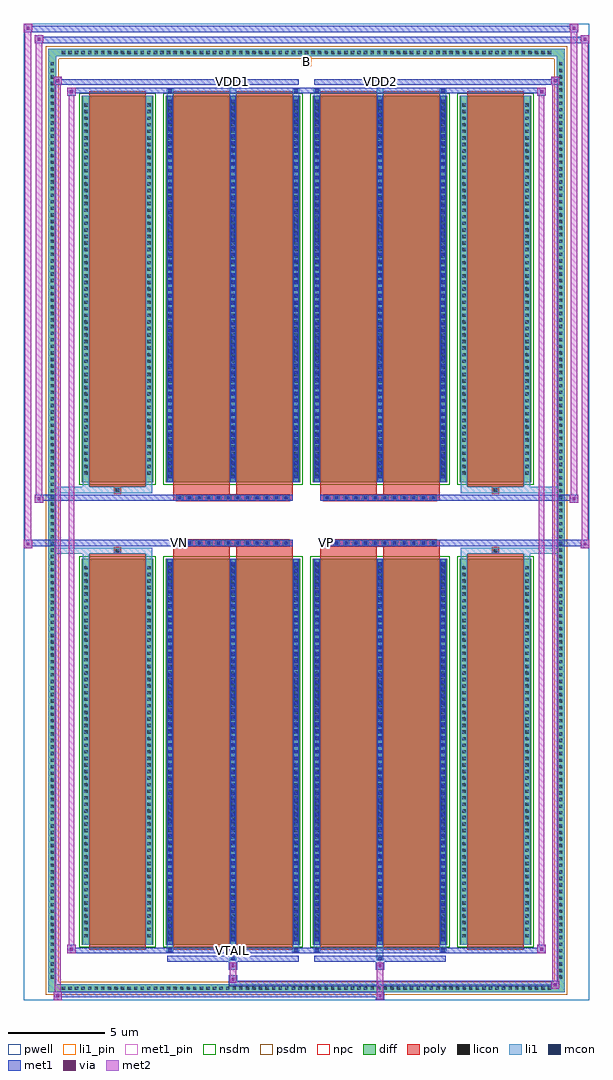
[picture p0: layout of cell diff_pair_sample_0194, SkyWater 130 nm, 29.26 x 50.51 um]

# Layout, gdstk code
import gdstk
lib = gdstk.Library(unit=1e-6, precision=5e-09)
def R(c, l, rs):  # rectangles x0, y0, x1, y1
    for r in rs: c.add(gdstk.rectangle(r[:2], r[2:], *l))
def A(c, l, x, y, w, h, nx, ny, dx, dy):  # array of equal rectangles
    R(c, l, [(x+i*dx, y+j*dy, x+i*dx+w, y+j*dy+h) for i in range(nx) for j in range(ny)])
def P(c, l, *ps):  # polygons
    for p in ps: c.add(gdstk.Polygon(p, *l))
pwell = (64, 44)
diff = (65, 20)
poly = (66, 20)
licon = (66, 44)
li1_pin = (67, 16)
li1 = (67, 20)
mcon = (67, 44)
met1_pin = (68, 16)
met1 = (68, 20)
via = (68, 44)
met2 = (69, 20)
nsdm = (93, 44)
psdm = (94, 20)
npc = (95, 20)

diff_pair_sample_0194 = lib.new_cell('diff_pair_sample_0194')
R(diff_pair_sample_0194, pwell, [(-14.63,-24.82,14.63,25.69), (-11.95,-23.01,-0.01,-0.805), (0.01,-23.01,11.95,-0.805), (-11.95,0.805,-0.01,23.01), (0.01,0.805,11.95,23.01)])
A(diff_pair_sample_0194, diff, -12.785, -24.42, 0.41, 0.41, 75, 2, 0.34, 48.43)
A(diff_pair_sample_0194, diff, -13.36, -23.835, 0.41, 0.41, 1, 140, 0, 0.34)
A(diff_pair_sample_0194, diff, 12.95, -23.835, 0.41, 0.41, 1, 140, 0, 0.34)
R(diff_pair_sample_0194, diff, [(-12.785,-24.42,12.785,-24.01), (-13.36,-23.835,-12.95,23.835), (12.95,-23.835,13.36,23.835), (-11.64,-21.965,-7.93,-1.985), (-7.29,-21.965,-0.32,-1.985), (0.32,-21.965,7.29,-1.985), (7.93,-21.965,11.64,-1.985), (-11.64,1.985,-7.93,21.965), (-7.29,1.985,-0.32,21.965), (0.32,1.985,7.29,21.965), (7.93,1.985,11.64,21.965), (-12.785,24.01,12.785,24.42)])
P(diff_pair_sample_0194, diff, [(13.36,24.42),(-13.36,24.42),(-13.36,-24.01),(-12.95,-24.01),(-12.95,24.01),(12.95,24.01),(12.95,-24.01),(-12.95,-24.01),(-13.36,-24.01),(-13.36,-24.42),(13.36,-24.42)])
A(diff_pair_sample_0194, poly, -6.72, -1.335, 0.33, 0.33, 12, 2, 0.5, 2.34)
A(diff_pair_sample_0194, poly, 0.89, -1.335, 0.33, 0.33, 12, 2, 0.5, 2.34)
R(diff_pair_sample_0194, poly, [(-11.25,-22.215,-8.32,-1.735), (-6.9,-22.215,-3.97,-1.735), (-3.64,-22.215,-0.71,-1.735), (0.71,-22.215,3.64,-1.735), (3.97,-22.215,6.9,-1.735), (8.32,-22.215,11.25,-1.735), (-9.95,-1.735,-9.62,-1.405), (-9.95,-1.735,-9.62,-1.405), (-6.9,-1.735,-3.97,-1.335), (-3.64,-1.735,-0.71,-1.335), (0.71,-1.735,3.64,-1.335), (3.97,-1.735,6.9,-1.335), (9.62,-1.735,9.95,-1.405), (9.62,-1.735,9.95,-1.405), (-6.9,-1.335,-0.71,-1.005), (0.71,-1.335,6.9,-1.005), (-6.9,1.005,-0.71,1.335), (0.71,1.005,6.9,1.335), (-6.9,1.335,-3.97,1.735), (-3.64,1.335,-0.71,1.735), (0.71,1.335,3.64,1.735), (3.97,1.335,6.9,1.735), (-9.95,1.405,-9.62,1.735), (-9.95,1.405,-9.62,1.735), (9.62,1.405,9.95,1.735), (9.62,1.405,9.95,1.735), (-11.25,1.735,-8.32,22.215), (-6.9,1.735,-3.97,22.215), (-3.64,1.735,-0.71,22.215), (0.71,1.735,3.64,22.215), (3.97,1.735,6.9,22.215), (8.32,1.735,11.25,22.215)])
A(diff_pair_sample_0194, licon, -12.665, -24.3, 0.17, 0.17, 75, 2, 0.34, 48.43)
A(diff_pair_sample_0194, licon, -13.24, -23.715, 0.17, 0.17, 1, 140, 0, 0.34)
A(diff_pair_sample_0194, licon, 13.07, -23.715, 0.17, 0.17, 1, 140, 0, 0.34)
A(diff_pair_sample_0194, licon, -11.5, -21.58, 0.17, 0.17, 1, 57, 0, 0.34)
A(diff_pair_sample_0194, licon, -8.24, -21.58, 0.17, 0.17, 1, 57, 0, 0.34)
A(diff_pair_sample_0194, licon, -7.15, -21.58, 0.17, 0.17, 3, 57, 3.26, 0.34)
A(diff_pair_sample_0194, licon, 0.46, -21.58, 0.17, 0.17, 3, 57, 3.26, 0.34)
A(diff_pair_sample_0194, licon, 8.07, -21.58, 0.17, 0.17, 1, 57, 0, 0.34)
A(diff_pair_sample_0194, licon, 11.33, -21.58, 0.17, 0.17, 1, 57, 0, 0.34)
A(diff_pair_sample_0194, licon, -6.64, -1.255, 0.17, 0.17, 12, 2, 0.5, 2.34)
A(diff_pair_sample_0194, licon, 0.97, -1.255, 0.17, 0.17, 12, 2, 0.5, 2.34)
A(diff_pair_sample_0194, licon, -11.5, 2.37, 0.17, 0.17, 1, 57, 0, 0.34)
A(diff_pair_sample_0194, licon, -8.24, 2.37, 0.17, 0.17, 1, 57, 0, 0.34)
A(diff_pair_sample_0194, licon, -7.15, 2.37, 0.17, 0.17, 3, 57, 3.26, 0.34)
A(diff_pair_sample_0194, licon, 0.46, 2.37, 0.17, 0.17, 3, 57, 3.26, 0.34)
A(diff_pair_sample_0194, licon, 8.07, 2.37, 0.17, 0.17, 1, 57, 0, 0.34)
A(diff_pair_sample_0194, licon, 11.33, 2.37, 0.17, 0.17, 1, 57, 0, 0.34)
R(diff_pair_sample_0194, licon, [(-9.87,-1.655,-9.7,-1.485), (9.7,-1.655,9.87,-1.485), (-9.87,1.485,-9.7,1.655), (9.7,1.485,9.87,1.655)])
R(diff_pair_sample_0194, li1_pin, [(-0.25,23.51,0.25,24.01)])
A(diff_pair_sample_0194, li1, -12.745, -24.38, 0.33, 0.33, 75, 2, 0.34, 48.43)
A(diff_pair_sample_0194, li1, -13.32, -23.795, 0.33, 0.33, 1, 140, 0, 0.34)
A(diff_pair_sample_0194, li1, 12.99, -23.795, 0.33, 0.33, 1, 140, 0, 0.34)
A(diff_pair_sample_0194, li1, -7.23, -21.965, 0.33, 19.98, 3, 2, 3.26, 23.95)
A(diff_pair_sample_0194, li1, 0.38, -21.965, 0.33, 19.98, 3, 2, 3.26, 23.95)
A(diff_pair_sample_0194, li1, -7.15, -21.78, 0.17, 0.17, 3, 55, 3.26, 0.36)
A(diff_pair_sample_0194, li1, -7.15, -21.78, 0.17, 19.61, 3, 2, 3.26, 23.95)
A(diff_pair_sample_0194, li1, 0.46, -21.78, 0.17, 0.17, 3, 55, 3.26, 0.36)
A(diff_pair_sample_0194, li1, 0.46, -21.78, 0.17, 19.61, 3, 2, 3.26, 23.95)
A(diff_pair_sample_0194, li1, -11.58, -21.66, 0.33, 0.33, 1, 57, 0, 0.34)
A(diff_pair_sample_0194, li1, -8.32, -21.66, 0.33, 0.33, 1, 57, 0, 0.34)
A(diff_pair_sample_0194, li1, -7.23, -21.66, 0.33, 0.33, 3, 57, 3.26, 0.34)
A(diff_pair_sample_0194, li1, 0.38, -21.66, 0.33, 0.33, 3, 57, 3.26, 0.34)
A(diff_pair_sample_0194, li1, 7.99, -21.66, 0.33, 0.33, 1, 57, 0, 0.34)
A(diff_pair_sample_0194, li1, 11.25, -21.66, 0.33, 0.33, 1, 57, 0, 0.34)
A(diff_pair_sample_0194, li1, -6.72, -1.335, 0.33, 0.33, 12, 2, 0.5, 2.34)
A(diff_pair_sample_0194, li1, 0.89, -1.335, 0.33, 0.33, 12, 2, 0.5, 2.34)
A(diff_pair_sample_0194, li1, -7.15, 2.17, 0.17, 0.17, 3, 55, 3.26, 0.36)
A(diff_pair_sample_0194, li1, 0.46, 2.17, 0.17, 0.17, 3, 55, 3.26, 0.36)
A(diff_pair_sample_0194, li1, -11.58, 2.29, 0.33, 0.33, 1, 57, 0, 0.34)
A(diff_pair_sample_0194, li1, -8.32, 2.29, 0.33, 0.33, 1, 57, 0, 0.34)
A(diff_pair_sample_0194, li1, -7.23, 2.29, 0.33, 0.33, 3, 57, 3.26, 0.34)
A(diff_pair_sample_0194, li1, 0.38, 2.29, 0.33, 0.33, 3, 57, 3.26, 0.34)
A(diff_pair_sample_0194, li1, 7.99, 2.29, 0.33, 0.33, 1, 57, 0, 0.34)
A(diff_pair_sample_0194, li1, 11.25, 2.29, 0.33, 0.33, 1, 57, 0, 0.34)
R(diff_pair_sample_0194, li1, [(-13.36,-24.42,-12.95,-24.01), (-13.36,-24.42,-12.95,-24.01), (-12.95,-24.42,12.95,-24.01), (12.95,-24.42,13.36,-24.01), (12.95,-24.42,13.36,-24.01), (-13.36,-24.01,-12.95,24.01), (12.95,-24.01,13.36,24.01), (-3.97,-22.77,-3.64,-21.965), (-3.89,-22.77,-3.72,-22.6), (3.64,-22.77,3.97,-21.965), (3.72,-22.77,3.89,-22.6), (-7.23,-22.34,-6.9,-21.965), (-7.15,-22.34,-6.98,-22.17), (-0.71,-22.34,-0.38,-21.965), (-0.63,-22.34,-0.46,-22.17), (0.38,-22.34,0.71,-21.965), (0.46,-22.34,0.63,-22.17), (6.9,-22.34,7.23,-21.965), (6.98,-22.34,7.15,-22.17), (-11.58,-21.965,-11.25,-1.985), (-8.32,-21.965,-7.99,-1.985), (7.99,-21.965,8.32,-1.985), (11.25,-21.965,11.58,-1.985), (-11.58,-1.985,-11.25,-1.405), (-8.32,-1.985,-7.99,-1.405), (7.99,-1.985,8.32,-1.405), (11.25,-1.985,11.58,-1.405), (-13.36,-1.735,-9.95,-1.405), (-11.58,-1.735,-9.95,-1.405), (-9.95,-1.735,-9.62,-1.405), (-9.62,-1.735,-7.99,-1.405), (7.99,-1.735,9.62,-1.405), (9.62,-1.735,9.95,-1.405), (9.62,-1.735,13.36,-1.405), (9.95,-1.735,11.58,-1.405), (-13.36,1.405,-9.95,1.735), (-11.58,1.405,-9.95,1.735), (-11.58,1.405,-11.25,1.985), (-9.95,1.405,-9.62,1.735), (-9.62,1.405,-7.99,1.735), (-8.32,1.405,-7.99,1.985), (7.99,1.405,9.62,1.735), (7.99,1.405,8.32,1.985), (9.62,1.405,9.95,1.735), (9.62,1.405,13.36,1.735), (9.95,1.405,11.58,1.735), (11.25,1.405,11.58,1.985), (-11.58,1.985,-11.25,21.965), (-8.32,1.985,-7.99,21.965), (7.99,1.985,8.32,21.965), (11.25,1.985,11.58,21.965), (-7.23,21.965,-6.9,22.34), (-3.97,21.965,-3.64,22.77), (-0.71,21.965,-0.38,22.34), (0.38,21.965,0.71,22.34), (3.64,21.965,3.97,22.77), (6.9,21.965,7.23,22.34), (-7.15,22.17,-6.98,22.34), (-0.63,22.17,-0.46,22.34), (0.46,22.17,0.63,22.34), (6.98,22.17,7.15,22.34), (-3.89,22.6,-3.72,22.77), (3.72,22.6,3.89,22.77), (-13.36,24.01,-12.95,24.42), (-13.36,24.01,-12.95,24.42), (-12.95,24.01,12.95,24.42), (12.95,24.01,13.36,24.42), (12.95,24.01,13.36,24.42)])
A(diff_pair_sample_0194, mcon, -7.15, -21.78, 0.17, 0.17, 3, 55, 3.26, 0.36)
A(diff_pair_sample_0194, mcon, 0.46, -21.78, 0.17, 0.17, 3, 55, 3.26, 0.36)
A(diff_pair_sample_0194, mcon, -6.64, -1.255, 0.17, 0.17, 12, 2, 0.5, 2.34)
A(diff_pair_sample_0194, mcon, 0.97, -1.255, 0.17, 0.17, 12, 2, 0.5, 2.34)
A(diff_pair_sample_0194, mcon, -7.15, 2.17, 0.17, 0.17, 3, 55, 3.26, 0.36)
A(diff_pair_sample_0194, mcon, 0.46, 2.17, 0.17, 0.17, 3, 55, 3.26, 0.36)
R(diff_pair_sample_0194, mcon, [(-3.89,-22.77,-3.72,-22.6), (3.72,-22.77,3.89,-22.6), (-7.15,-22.34,-6.98,-22.17), (-0.63,-22.34,-0.46,-22.17), (0.46,-22.34,0.63,-22.17), (6.98,-22.34,7.15,-22.17), (-7.15,22.17,-6.98,22.34), (-0.63,22.17,-0.46,22.34), (0.46,22.17,0.63,22.34), (6.98,22.17,7.15,22.34), (-3.89,22.6,-3.72,22.77), (3.72,22.6,3.89,22.77)])
R(diff_pair_sample_0194, met1_pin, [(-3.94,-22.38,-3.67,-22.11), (-6.69,-1.295,-6.42,-1.025), (0.92,-1.295,1.19,-1.025), (-3.94,22.56,-3.67,22.83), (3.67,22.56,3.94,22.83)])
A(diff_pair_sample_0194, met1, -7.21, -21.965, 0.29, 19.98, 3, 2, 3.26, 23.95)
A(diff_pair_sample_0194, met1, 0.4, -21.965, 0.29, 19.98, 3, 2, 3.26, 23.95)
A(diff_pair_sample_0194, met1, -7.21, -21.84, 0.29, 0.29, 3, 55, 3.26, 0.36)
A(diff_pair_sample_0194, met1, 0.4, -21.84, 0.29, 0.29, 3, 55, 3.26, 0.36)
A(diff_pair_sample_0194, met1, -6.7, -1.315, 0.29, 0.29, 12, 2, 0.5, 2.34)
A(diff_pair_sample_0194, met1, 0.91, -1.315, 0.29, 0.29, 12, 2, 0.5, 2.34)
A(diff_pair_sample_0194, met1, -7.21, 2.11, 0.29, 0.29, 3, 55, 3.26, 0.36)
A(diff_pair_sample_0194, met1, 0.4, 2.11, 0.29, 0.29, 3, 55, 3.26, 0.36)
R(diff_pair_sample_0194, met1, [(-13.09,-24.82,-12.66,-24.39), (3.59,-24.82,4.02,-24.39), (-13.09,-24.68,4.02,-24.39), (12.66,-24.25,13.09,-23.82), (-4.02,-24.11,13.09,-23.82), (-4.02,-23.97,-3.59,-23.54), (-4.02,-23.26,-3.59,-22.83), (3.59,-23.26,4.02,-22.83), (-7.21,-22.83,-0.4,-22.54), (-3.95,-22.83,-3.66,-22.54), (0.4,-22.83,7.21,-22.54), (3.66,-22.83,3.95,-22.54), (-12.38,-22.4,-11.95,-21.97), (-12.38,-22.4,-7.21,-22.11), (-7.21,-22.4,-6.92,-22.11), (-7.21,-22.4,-0.4,-22.11), (-0.69,-22.4,-0.4,-22.11), (-0.4,-22.4,0.4,-22.11), (0.4,-22.4,0.69,-22.11), (0.4,-22.4,7.21,-22.11), (6.92,-22.4,7.21,-22.11), (7.21,-22.4,12.38,-22.11), (11.95,-22.4,12.38,-21.97), (-14.63,-1.435,-14.2,-1.005), (14.2,-1.435,14.63,-1.005), (-14.63,-1.335,-0.71,-1.005), (-6.9,-1.335,-0.71,-1.005), (0.71,-1.335,6.9,-1.005), (0.71,-1.335,14.63,-1.005), (-14.06,0.905,-13.63,1.335), (13.63,0.905,14.06,1.335), (-14.06,1.005,-6.9,1.335), (-6.9,1.005,-0.71,1.335), (0.71,1.005,6.9,1.335), (6.9,1.005,14.06,1.335), (-12.38,21.97,-11.95,22.4), (11.95,21.97,12.38,22.4), (-12.38,22.11,-7.21,22.4), (-7.21,22.11,-6.92,22.4), (-7.21,22.11,-0.4,22.4), (-0.69,22.11,-0.4,22.4), (-0.4,22.11,0.4,22.4), (0.4,22.11,0.69,22.4), (0.4,22.11,7.21,22.4), (6.92,22.11,7.21,22.4), (7.21,22.11,12.38,22.4), (-13.09,22.54,-12.66,22.97), (-13.09,22.54,-7.21,22.83), (-7.21,22.54,-0.4,22.83), (-3.95,22.54,-3.66,22.83), (0.4,22.54,7.21,22.83), (3.66,22.54,3.95,22.83), (7.21,22.54,13.09,22.83), (12.66,22.54,13.09,22.97), (-14.06,24.69,-13.63,25.12), (-14.06,24.69,-11.95,25.02), (-11.95,24.69,11.95,25.02), (11.95,24.69,14.63,25.02), (14.2,24.69,14.63,25.12), (-14.63,25.26,-14.2,25.69), (-14.63,25.26,-11.95,25.59), (-11.95,25.26,11.95,25.59), (11.95,25.26,14.06,25.59), (13.63,25.26,14.06,25.69)])
R(diff_pair_sample_0194, via, [(-12.95,-24.68,-12.8,-24.53), (3.73,-24.68,3.88,-24.53), (12.8,-24.11,12.95,-23.96), (-3.88,-23.83,-3.73,-23.68), (-3.88,-23.12,-3.73,-22.97), (3.73,-23.12,3.88,-22.97), (-12.24,-22.26,-12.09,-22.11), (12.09,-22.26,12.24,-22.11), (-14.49,-1.295,-14.34,-1.145), (14.34,-1.295,14.49,-1.145), (-13.92,1.045,-13.77,1.195), (13.77,1.045,13.92,1.195), (-12.24,22.11,-12.09,22.26), (12.09,22.11,12.24,22.26), (-12.95,22.68,-12.8,22.83), (12.8,22.68,12.95,22.83), (-13.92,24.83,-13.77,24.98), (14.34,24.83,14.49,24.98), (-14.49,25.4,-14.34,25.55), (13.77,25.4,13.92,25.55)])
R(diff_pair_sample_0194, met2, [(-13.09,-24.82,-12.66,-24.39), (-13.02,-24.82,-12.73,22.97), (-12.73,-24.82,-12.66,-24.39), (-13.04,-24.77,-12.71,-24.44), (3.64,-24.77,3.97,-24.44), (3.64,-24.44,3.97,-23.21), (12.66,-24.25,13.09,-23.82), (12.73,-24.25,13.02,22.97), (13.02,-24.25,13.09,-23.82), (12.71,-24.2,13.04,-23.87), (-3.97,-23.92,-3.64,-23.59), (-3.97,-23.59,-3.64,-23.21), (-3.97,-23.21,-3.64,-22.88), (3.64,-23.21,3.97,-22.88), (-12.38,-22.4,-11.95,-21.97), (-12.31,-22.4,-12.02,22.4), (-12.02,-22.4,-11.95,-21.97), (11.95,-22.4,12.38,-21.97), (12.02,-22.4,12.31,22.4), (12.31,-22.4,12.38,-21.97), (-12.33,-22.35,-12,-22.02), (12,-22.35,12.33,-22.02), (-14.63,-1.435,-14.2,-1.005), (-14.58,-1.435,-14.25,25.69), (-14.25,-1.435,-14.2,-1.005), (14.2,-1.435,14.63,-1.005), (14.25,-1.435,14.58,25.12), (14.58,-1.435,14.63,-1.005), (-14.58,-1.385,-14.25,-1.055), (14.25,-1.385,14.58,-1.055), (-14.06,0.905,-13.63,1.335), (-14.01,0.905,-13.68,25.12), (-13.68,0.905,-13.63,1.335), (13.63,0.905,14.06,1.335), (13.68,0.905,14.01,25.69), (14.01,0.905,14.06,1.335), (-14.01,0.955,-13.68,1.285), (13.68,0.955,14.01,1.285), (-12.38,21.97,-11.95,22.4), (-12.02,21.97,-11.95,22.4), (11.95,21.97,12.38,22.4), (12.31,21.97,12.38,22.4), (-12.33,22.02,-12,22.35), (12,22.02,12.33,22.35), (-13.09,22.54,-12.66,22.97), (-12.73,22.54,-12.66,22.97), (12.66,22.54,13.09,22.97), (13.02,22.54,13.09,22.97), (-13.04,22.59,-12.71,22.92), (12.71,22.59,13.04,22.92), (-14.06,24.69,-13.63,25.12), (-13.68,24.69,-13.63,25.12), (14.2,24.69,14.63,25.12), (14.58,24.69,14.63,25.12), (-14.01,24.74,-13.68,25.07), (14.25,24.74,14.58,25.07), (-14.63,25.26,-14.2,25.69), (-14.25,25.26,-14.2,25.69), (13.63,25.26,14.06,25.69), (14.01,25.26,14.06,25.69), (-14.58,25.31,-14.25,25.64), (13.68,25.31,14.01,25.64)])
R(diff_pair_sample_0194, nsdm, [(-11.77,-22.095,-7.8,-1.855), (-7.42,-22.095,-0.19,-1.855), (0.19,-22.095,7.42,-1.855), (7.8,-22.095,11.77,-1.855), (-11.77,1.855,-7.8,22.095), (-7.42,1.855,-0.19,22.095), (0.19,1.855,7.42,22.095), (7.8,1.855,11.77,22.095)])
P(diff_pair_sample_0194, psdm, [(13.49,24.55),(-13.49,24.55),(-13.49,-23.88),(-12.82,-23.88),(-12.82,23.88),(12.82,23.88),(12.82,-23.88),(-12.82,-23.88),(-13.49,-23.88),(-13.49,-24.55),(13.49,-24.55)])
A(diff_pair_sample_0194, npc, -6.74, -1.355, 0.37, 0.37, 12, 2, 0.5, 2.34)
A(diff_pair_sample_0194, npc, 0.87, -1.355, 0.37, 0.37, 12, 2, 0.5, 2.34)
R(diff_pair_sample_0194, npc, [(-9.97,-1.755,-9.6,-1.385), (9.6,-1.755,9.97,-1.385), (-6.74,-1.355,-5.87,-0.985), (-6.74,-1.355,-5.87,-0.985), (-6.24,-1.355,-5.37,-0.985), (-6.24,-1.355,-5.37,-0.985), (-5.74,-1.355,-4.87,-0.985), (-5.74,-1.355,-4.87,-0.985), (-5.24,-1.355,-4.37,-0.985), (-5.24,-1.355,-4.37,-0.985), (-4.74,-1.355,-3.87,-0.985), (-4.74,-1.355,-3.87,-0.985), (-4.24,-1.355,-3.37,-0.985), (-4.24,-1.355,-3.37,-0.985), (-3.74,-1.355,-2.87,-0.985), (-3.74,-1.355,-2.87,-0.985), (-3.24,-1.355,-2.37,-0.985), (-3.24,-1.355,-2.37,-0.985), (-2.74,-1.355,-1.87,-0.985), (-2.74,-1.355,-1.87,-0.985), (-2.24,-1.355,-1.37,-0.985), (-2.24,-1.355,-1.37,-0.985), (-1.74,-1.355,-0.87,-0.985), (-1.74,-1.355,-0.87,-0.985), (0.87,-1.355,1.74,-0.985), (0.87,-1.355,1.74,-0.985), (1.37,-1.355,2.24,-0.985), (1.37,-1.355,2.24,-0.985), (1.87,-1.355,2.74,-0.985), (1.87,-1.355,2.74,-0.985), (2.37,-1.355,3.24,-0.985), (2.37,-1.355,3.24,-0.985), (2.87,-1.355,3.74,-0.985), (2.87,-1.355,3.74,-0.985), (3.37,-1.355,4.24,-0.985), (3.37,-1.355,4.24,-0.985), (3.87,-1.355,4.74,-0.985), (3.87,-1.355,4.74,-0.985), (4.37,-1.355,5.24,-0.985), (4.37,-1.355,5.24,-0.985), (4.87,-1.355,5.74,-0.985), (4.87,-1.355,5.74,-0.985), (5.37,-1.355,6.24,-0.985), (5.37,-1.355,6.24,-0.985), (5.87,-1.355,6.74,-0.985), (5.87,-1.355,6.74,-0.985), (-6.74,0.985,-5.87,1.355), (-6.74,0.985,-5.87,1.355), (-6.24,0.985,-5.37,1.355), (-6.24,0.985,-5.37,1.355), (-5.74,0.985,-4.87,1.355), (-5.74,0.985,-4.87,1.355), (-5.24,0.985,-4.37,1.355), (-5.24,0.985,-4.37,1.355), (-4.74,0.985,-3.87,1.355), (-4.74,0.985,-3.87,1.355), (-4.24,0.985,-3.37,1.355), (-4.24,0.985,-3.37,1.355), (-3.74,0.985,-2.87,1.355), (-3.74,0.985,-2.87,1.355), (-3.24,0.985,-2.37,1.355), (-3.24,0.985,-2.37,1.355), (-2.74,0.985,-1.87,1.355), (-2.74,0.985,-1.87,1.355), (-2.24,0.985,-1.37,1.355), (-2.24,0.985,-1.37,1.355), (-1.74,0.985,-0.87,1.355), (-1.74,0.985,-0.87,1.355), (0.87,0.985,1.74,1.355), (0.87,0.985,1.74,1.355), (1.37,0.985,2.24,1.355), (1.37,0.985,2.24,1.355), (1.87,0.985,2.74,1.355), (1.87,0.985,2.74,1.355), (2.37,0.985,3.24,1.355), (2.37,0.985,3.24,1.355), (2.87,0.985,3.74,1.355), (2.87,0.985,3.74,1.355), (3.37,0.985,4.24,1.355), (3.37,0.985,4.24,1.355), (3.87,0.985,4.74,1.355), (3.87,0.985,4.74,1.355), (4.37,0.985,5.24,1.355), (4.37,0.985,5.24,1.355), (4.87,0.985,5.74,1.355), (4.87,0.985,5.74,1.355), (5.37,0.985,6.24,1.355), (5.37,0.985,6.24,1.355), (5.87,0.985,6.74,1.355), (5.87,0.985,6.74,1.355), (-9.97,1.385,-9.6,1.755), (9.6,1.385,9.97,1.755)])
diff_pair_sample_0194.add(gdstk.Label('VTAIL', (-3.805,-22.245), layer=68, texttype=5))
diff_pair_sample_0194.add(gdstk.Label('VN', (-6.555,-1.16), layer=68, texttype=5))
diff_pair_sample_0194.add(gdstk.Label('VP', (1.055,-1.16), layer=68, texttype=5))
diff_pair_sample_0194.add(gdstk.Label('B', (0,23.76), layer=67, texttype=5))
diff_pair_sample_0194.add(gdstk.Label('VDD2', (3.805,22.695), layer=68, texttype=5))
diff_pair_sample_0194.add(gdstk.Label('VDD1', (-3.805,22.695), layer=68, texttype=5))

lib.write_gds('diff_pair_sample_0194.gds')
